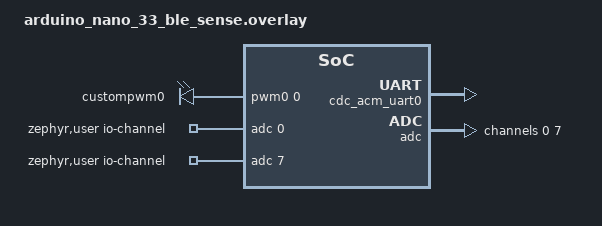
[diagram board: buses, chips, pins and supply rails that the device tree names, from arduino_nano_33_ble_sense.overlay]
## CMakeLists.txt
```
cmake_minimum_required(VERSION 3.20.0)
find_package(Zephyr REQUIRED HINTS $ENV{ZEPHYR_BASE})

project(mv)

target_sources(app PRIVATE 
    src/main.c 
    src/bt.c 
    src/bt_mv.c 
    src/adc.c
)

zephyr_library_include_directories(.)
```

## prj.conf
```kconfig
CONFIG_USB_DEVICE_STACK=y
CONFIG_USB_DEVICE_PRODUCT="Zephyr USB console sample"
CONFIG_USB_DEVICE_PID=0x0004
CONFIG_USB_DEVICE_INITIALIZE_AT_BOOT=n

CONFIG_SERIAL=y
CONFIG_CONSOLE=y
CONFIG_UART_CONSOLE=y
CONFIG_UART_LINE_CTRL=y

# CONFIG_STDOUT_CONSOLE=y
# CONFIG_PRINTK=y
CONFIG_PWM=y
CONFIG_LOG=y
CONFIG_LOG_PRINTK=y
CONFIG_LOG_MODE_DEFERRED=y
CONFIG_PWM_LOG_LEVEL_DBG=n
CONFIG_BT_LOG_LEVEL_DBG=n
CONFIG_FPU=y
CONFIG_CMSIS_DSP=y

CONFIG_NCS_SAMPLES_DEFAULTS=y

CONFIG_BT=y
CONFIG_BT_PERIPHERAL=y
CONFIG_BT_DEVICE_NAME="Minverter"

CONFIG_SYSTEM_WORKQUEUE_STACK_SIZE=2048

CONFIG_ADC=y
CONFIG_TIMING_FUNCTIONS=y

# for CPU die temp
CONFIG_SENSOR=y
CONFIG_CBPRINTF_FP_SUPPORT=y

# for hardware ID
CONFIG_HW_ID_LIBRARY=y
```

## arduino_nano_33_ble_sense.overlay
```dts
/{
    chosen {
		zephyr,console = &cdc_acm_uart0;
	};

    custompwms {
        compatible = "pwm-leds";
    
        custompwm0: custom_pwm_0 {
            pwms =  <&pwm0 0 PWM_MSEC(0) PWM_POLARITY_INVERTED>,  // period and flag values will be overwritten
                    <&pwm0 1 PWM_MSEC(0) PWM_POLARITY_NORMAL>,
                    <&pwm0 2 PWM_MSEC(0) PWM_POLARITY_NORMAL> 
                   ;
        };
    };
    aliases {
        mycustompwm = &custompwm0;
		die-temp0 = &temp;
    };

    zephyr,user {
		io-channels = <&adc 0>, <&adc 7>;
	};

};


&zephyr_udc0 {
	cdc_acm_uart0: cdc_acm_uart0 {
		compatible = "zephyr,cdc-acm-uart";
	};
};


&pwm0 {
    center-aligned;
};

&pinctrl {
    pwm0_default: pwm0_default {
		group1 {
			psels = <NRF_PSEL(PWM_OUT0, 0, 24)>,    // P0.24, red LED
				    <NRF_PSEL(PWM_OUT1, 0, 27)>,    // P0.27 = Arduino Nano D9, LS switch
                    <NRF_PSEL(PWM_OUT2, 0, 21)>;    // P0.21, Arduino Nano D8, HS switch
		};
	};
};

&adc {
	#address-cells = <1>;
	#size-cells = <0>;

	channel@0 {
		reg = <0>;
		zephyr,gain = "ADC_GAIN_1_6";
		zephyr,reference = "ADC_REF_INTERNAL";
		zephyr,acquisition-time = <ADC_ACQ_TIME(ADC_ACQ_TIME_MICROSECONDS, 40)>; // was ADC_ACQ_TIME_DEFAULT
		zephyr,input-positive = <NRF_SAADC_AIN1>; /* P0.03 */
		zephyr,resolution = <12>;
		zephyr,oversampling = <0>;
	};

	channel@7 {
		reg = <7>;
		zephyr,gain = "ADC_GAIN_1_6";
		zephyr,reference = "ADC_REF_INTERNAL";
		zephyr,acquisition-time = <ADC_ACQ_TIME(ADC_ACQ_TIME_MICROSECONDS, 3)>;
		zephyr,input-positive = <NRF_SAADC_VDD>;
		zephyr,resolution = <12>;
		zephyr,oversampling = <0>;

	};
};
```

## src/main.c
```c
#include <zephyr/kernel.h>
#include <zephyr/sys/printk.h>
#include <zephyr/device.h>
#include <zephyr/drivers/pwm.h>
#include <math.h>
#include "arm_math.h"
#include "arm_const_structs.h"

#include <zephyr/usb/usb_device.h>
#include <zephyr/drivers/uart.h>
#include <zephyr/logging/log.h>
LOG_MODULE_REGISTER(main);// , CONFIG_MAIN_LOG_LEVEL);

#include "mv.h"



static const struct pwm_dt_spec custompwm0 = PWM_DT_SPEC_GET(DT_ALIAS(mycustompwm));

float levels[STEPS]; // holds duty cycles, duty = what fraction of time HS switch is on

#define TWO_PI 6.28318530718f

struct mv_param_t {
	/* IEEE 1547 10.6, tables 30-40 */
	/* ... */
	bool PermitService;
	/* .... */
	

	float32_t duty_avg;
	float32_t duty_range;
};

struct mv_param_t mv_param = {
	.PermitService = false,
	.duty_avg = DUTY_AVG,
	.duty_range = DUTY_RANGE,
};

struct mv_nameplate_t mv_nameplate = {
	.HardwareID = "unsupported",
	.VoltageNominal = -999.f,
	.Current = -999.f,
	.ActivePower = -999.f,
	.ApparentPower = -999.f,
	.ReactivePower = -999.f,
};

float32_t sysdata[7] = {0.f};

void step_handler(struct k_work *work)
{
	static uint32_t count = 0;
	static uint32_t oldpulsewidth_ns = 0;

	if (!mv_param.PermitService) {
		LOG_INF("step_handler called when not powered"); // this is normal: we may have steps left in the workqueue even if the output has been turned off
																// catching and ignoring them in the handler is recc https://docs.zephyrproject.org/latest/kernel/services/threads/workqueue.html#workqueue-best-practices
		return;
	}
	uint32_t pulsewidth_ns = PWM_HZ(PWM_FREQ)*levels[count++ % STEPS]; 
	uint32_t ret = pwm_set_dt(&custompwm0, 
		PWM_HZ(PWM_FREQ), 
		pulsewidth_ns);
	if (pulsewidth_ns > oldpulsewidth_ns) {
		ret |= pwm_set(custompwm0.dev, 1,
			PWM_HZ(PWM_FREQ), 
			pulsewidth_ns + DEADTIME_NS, PWM_POLARITY_INVERTED);
		ret |= pwm_set(custompwm0.dev, 2,
			PWM_HZ(PWM_FREQ), 
			pulsewidth_ns - DEADTIME_NS, PWM_POLARITY_NORMAL);
	} else {
		ret |= pwm_set(custompwm0.dev, 2,
			PWM_HZ(PWM_FREQ), 
			pulsewidth_ns - DEADTIME_NS, PWM_POLARITY_NORMAL);
		ret |= pwm_set(custompwm0.dev, 1,
			PWM_HZ(PWM_FREQ), 
			pulsewidth_ns + DEADTIME_NS, PWM_POLARITY_INVERTED);
	}
	oldpulsewidth_ns = pulsewidth_ns;
	if (ret) {
		LOG_ERR("Error %d: failed to set pulse width", ret);
		// XXX
		trip_off(); // shouldn't happen, but if it does, trip?
	}
	if (!mv_param.PermitService) {
		LOG_ERR("ERR: step_handler finished when not powered"); // should not happen
		trip_off(); // but if it does let's power off
	}
}

K_WORK_DEFINE(step_work, step_handler);

void step_timer_handler(struct k_timer *dummy)
{
    k_work_submit(&step_work);
}

void step_timer_off()
{
	LOG_DBG("step_timer_off called\n");
}

K_TIMER_DEFINE(step_timer, step_timer_handler, step_timer_off);


/* Create an instance of your custom structure */
static void statechange_handler(struct k_work *work);

struct statechange_work_data statechange_work_data = {
    .work = Z_WORK_INITIALIZER(statechange_handler),
};

/*
  turn everything off and set to known state
*/
void trip_off() {
	/* set state */
	mv_param.PermitService = false;
	/* stop any running timers */
	k_timer_stop(&step_timer);
	/* set all PWM to zero pulse width */
	uint32_t ret = pwm_set_dt(&custompwm0, PWM_HZ(PWM_FREQ), 0);
	ret |= pwm_set(custompwm0.dev, 2,
		PWM_HZ(PWM_FREQ), 
		0, PWM_POLARITY_NORMAL);
	ret |= pwm_set(custompwm0.dev, 1,
		PWM_HZ(PWM_FREQ), 
		0, PWM_POLARITY_NORMAL);
	if (ret) {
		LOG_ERR("Error %d: failed to set pulse width in trip_off", ret);
		// XXX
	}
}

void statechange_handler(struct k_work* work) {
    struct statechange_work_data *work_data = CONTAINER_OF(work, struct statechange_work_data, work);
 	bool newstate = work_data->newstate;
	if (newstate != !mv_param.PermitService) {
		LOG_INF("State change to %d despite existing state %d", newstate, mv_param.PermitService);
	}
	
	if (newstate) {
		k_timer_start(&step_timer, K_USEC(0U), K_USEC(1000000U/(WAVEFORM_FREQ*STEPS)));
		mv_param.PermitService = true;
		LOG_INF("Power state turned on");
	} else {
		trip_off();
		LOG_INF("Power state turned off");
	}	
}

void pwm_init() {
	if (!device_is_ready(custompwm0.dev)) {
		LOG_ERR("Error: PWM device %s is not ready",
		       custompwm0.dev->name);
	} 
	trip_off();
	LOG_INF("pwm_init complete");
}

void waveform_init() {
	for (int i =0; i < STEPS; i++) {
		levels[i] = mv_param.duty_avg*(1 + mv_param.duty_range*sin(TWO_PI*i/STEPS));
	}
}

void console_init() {
	const struct device *const dev = DEVICE_DT_GET(DT_CHOSEN(zephyr_console));
	uint32_t dtr = 0;

	if (usb_enable(NULL)) {
		printk("USB enable failed\n"); // won't be seen if using usb console
		LOG_ERR("USB enable failed"); // again, not likely to be seen
		// return 0;
	}

	/* Poll if the DTR flag was set */
	while (!dtr) {
		uart_line_ctrl_get(dev, UART_LINE_CTRL_DTR, &dtr);
		k_sleep(K_MSEC(100));
	}

	LOG_INF("Console_init complete");

}

int init_hw_id() {
	int err = hw_id_get(mv_nameplate.HardwareID, ARRAY_SIZE(mv_nameplate.HardwareID));
	if (err) {
		LOG_ERR("hw_id_get failed (err %d)\n", err);
		return err;
	}
	LOG_INF("hw_id: %s\n", mv_nameplate.HardwareID);
	return 0;
}

int main(void)
{
	console_init();
	pwm_init();
	waveform_init();
	init_bt();
	adc_init();
	init_hw_id();

	while (1) {
		adc_mainloop();
		k_sleep(K_MSEC(1));
	}
	k_sleep(K_FOREVER);
	return 0;
}
```

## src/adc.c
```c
#include <inttypes.h>
#include <stddef.h>
#include <stdint.h>

#include <math.h>
#include "arm_math.h"
#include "arm_const_structs.h"

#include <zephyr/device.h>
#include <zephyr/devicetree.h>
#include <zephyr/drivers/adc.h>
#include <zephyr/kernel.h>
#include <zephyr/sys/printk.h>
#include <zephyr/sys/util.h>

#include <zephyr/usb/usb_device.h>
#include <zephyr/drivers/uart.h>

#include <zephyr/timing/timing.h>

#include <zephyr/drivers/sensor.h>
#include <zephyr/logging/log.h>
LOG_MODULE_REGISTER(adc, CONFIG_ADC_LOG_LEVEL); // LOG_LEVEL_WRN); // CONFIG_ADC_LOG_LEVEL);

#include "mv.h"


#define SQR(x) ((x)*(x))


#if !DT_NODE_EXISTS(DT_PATH(zephyr_user)) || \
	!DT_NODE_HAS_PROP(DT_PATH(zephyr_user), io_channels)
#error "No suitable devicetree overlay specified"
#endif

#define DT_SPEC_AND_COMMA(node_id, prop, idx) \
	ADC_DT_SPEC_GET_BY_IDX(node_id, idx),

/* Data of ADC io-channels specified in devicetree. */
static const struct adc_dt_spec adc_channels[] = {
	DT_FOREACH_PROP_ELEM(DT_PATH(zephyr_user), io_channels,
			     DT_SPEC_AND_COMMA)
};


#define BLOCK_SIZE 4096
#define SAMPLE_RATE 15640.4f // constant is sampling rate, determined by experimental calibration
#define VOLTAGE_DIVIDER_SF 0.241f // scale factor 241 is 2*820k/6.8k, *1e-3 (mV to V)

uint16_t raw_data[BLOCK_SIZE*2] = {0};
float32_t sample_data[BLOCK_SIZE] = {0.f};
float32_t data_detrend[BLOCK_SIZE] = {0.f};
float32_t fftout[BLOCK_SIZE/2+2]; // output of real FFT
float32_t ps[BLOCK_SIZE]; // power spectrum, in V^2 for each bin (*not* distribution in V^2/Hz)
float32_t block_window[BLOCK_SIZE]; // window, needs to be computed only once
float32_t window_sum, window_sumsq; // window normalizations
static arm_rfft_fast_instance_f32 arm_rfft_S; // needs to be computed only once

static const struct device *const die_temp_sensor = DEVICE_DT_GET(DT_ALIAS(die_temp0));
static float64_t die_temperature(const struct device *dev);



void adc_init() {

	/* Configure channels individually prior to sampling. */
	for (size_t chan_i= 0U; chan_i< ARRAY_SIZE(adc_channels); chan_i++) {
		if (!device_is_ready(adc_channels[chan_i].dev)) {
			LOG_ERR("ADC controller device %s not ready", adc_channels[chan_i].dev->name);
			// return 0; // XXX
		}
		int err = adc_channel_setup_dt(&adc_channels[chan_i]);
		if (err < 0) {
			LOG_ERR("Could not setup channel #%d (%d)", chan_i, err);
			// return 0; // XXX should fail better
		}
	}
	
	// fft initialization
	arm_status status = arm_rfft_fast_init_f32(&arm_rfft_S, BLOCK_SIZE);
	if (status != ARM_MATH_SUCCESS) {
		LOG_ERR("arm_rfft_fast_init failure");
		// XXX fail better
	}
	arm_hft95_f32(block_window, BLOCK_SIZE); // window function, good to about 0.05% amplitude, ~4 bins wide
	//	arm_accumulate_f32(block_window, BLOCK_SIZE, &window_sum);
	window_sum = window_sumsq = 0.f;
	for (size_t i=0; i< BLOCK_SIZE; i++) {
		window_sum += block_window[i];
		window_sumsq += SQR(block_window[i]);
	}
	
	// initialize raw data to something nonzero by doing a read
	adc_measure();

	if (!device_is_ready(die_temp_sensor)) {
		LOG_ERR("sensor: device %s not ready", die_temp_sensor->name);
		return 0;
	}
}

void adc_measure() {
	struct adc_sequence sequence = {
		.buffer = &raw_data[0],
		/* buffer size in bytes, not number of samples */
		.buffer_size = sizeof(raw_data),
	};
	struct adc_sequence_options opts = {
		.extra_samplings = BLOCK_SIZE-1U,
	};


		// start_time = timing_counter_get(); // cpu time not wall time

		// first, configure sequence using channel 0. channel number doesn't matter
		// sequence.channels will be incorrect, we will fix after
		(void)adc_sequence_init_dt(&adc_channels[0], &sequence);
		sequence.channels = BIT(0) | BIT(7); // we have channel 7 config also
		sequence.options = &opts;
		int err = adc_read(adc_channels[0].dev, &sequence); // I think what device is linked doesn't depend on the channel
		if (err < 0) {
			LOG_ERR("Could not read (%d)", err);
			return; // XXX error handling
		} 
		// else {
		// 	for (size_t sample_i = 0; sample_i < BLOCK_SIZE; sample_i++) {
		// 		printk("%" PRId32 "\t%" PRId32 "\n", (int32_t) raw_data[2*sample_i+ 0], (int32_t) raw_data[2*sample_i+ 1]);
		// 	}
		// }


		// end_time = timing_counter_get();
		// total_cycles = timing_cycles_get(&start_time, &end_time);
		// total_ns = timing_cycles_to_ns(total_cycles); // not wall time
		// printk("done with reading, datarate %.2f ksps\n", BLOCK_SIZE/(1.e-6*total_ns)); 

}

void adc_calc() {
		float32_t vsum_volt = 0.f;
		int32_t vddsum_mv = 0;

		float32_t v_shift = 0.f;
		float32_t vsum_shift = 0.f;
		float32_t vsumsq_shift = 0.f;
		
		int32_t vdd_shift = 0;
		int32_t vddsum_shift = 0;
		int32_t vddsumsq_shift = 0;

		int32_t val_mv[ARRAY_SIZE(adc_channels)];

		int32_t v0_mv, vdd_mv;

    // start_time = timing_counter_get(); // cpu time not wall time


		// let api scale to mV using devicetree
		for (size_t i = 0; i < BLOCK_SIZE; i++) {
			v0_mv = raw_data[2*i+0]; 
			int err = adc_raw_to_millivolts_dt(&adc_channels[0],
									&v0_mv);
			if (err < 0) {
				LOG_ERR(" (value in mV not available)");
			}
			vdd_mv = raw_data[2*i+1]; 
			err = adc_raw_to_millivolts_dt(&adc_channels[1],
						&vdd_mv);
			if (err < 0) {
				LOG_ERR(" (value in mV not available)");
			}
			// then offset and scale to volts based on voltage dividers
			sample_data[i] = VOLTAGE_DIVIDER_SF*(v0_mv - vdd_mv/2); 
		}

		// stats calculations on block


		// // manual mean and sd
		// float32_t tmpsum = 0.f, tmpsumsq = 0.f;
		// for (int32_t i = 0; i < BLOCK_SIZE; i++) {
		//   tmpsum += sample_data[i];
		//   tmpsumsq += SQR(sample_data[i]);
		// }
		// printk("Mean (sd) %.6f (%.2f) V\n", tmpsum/BLOCK_SIZE, sqrt((tmpsumsq-SQR(tmpsum)/BLOCK_SIZE)/BLOCK_SIZE));

		// now stats and fourier w dsp library
		arm_status status = ARM_MATH_SUCCESS;
		float32_t maxValue, meanValue;
		uint32_t maxIndex;

		float32_t binWidth = (SAMPLE_RATE/BLOCK_SIZE); 
		arm_mean_f32(sample_data, BLOCK_SIZE, &meanValue);
		arm_offset_f32(sample_data, -meanValue, data_detrend, BLOCK_SIZE);
		arm_mult_f32(data_detrend, block_window, data_detrend, BLOCK_SIZE);
		arm_rfft_fast_f32(&arm_rfft_S, data_detrend, fftout, 0);
		// for (size_t i = 0; i < 35; i++) {
		// 	printk("%5.2f\t%10.2f\t%10.2f\n", binWidth*i, fftout[2*i], fftout[2*i+1]);
		// }
		ps[0] = 0.f; // zero out DC from power spectrum (also f_nyquist is in here too)
		arm_cmplx_mag_squared_f32(&fftout[1], &ps[1], BLOCK_SIZE/2-1);
		arm_max_f32(ps, BLOCK_SIZE, &maxValue, &maxIndex);
		if (maxIndex < 5) {
			LOG_INF("Max power index %" PRId32 " < 5, interpret with care", maxIndex);
		}
		float32_t tonePower = ps[maxIndex]; 
		float32_t harmonicPower = 0.f;
		size_t k = 0U; // will end at number harmonics plus one
		for (k = 2; k < 51; k++ ) { // 50 harmonics or whatever is inside our bandwidth
			if (k*maxIndex >= BLOCK_SIZE/2) {
				break;
			}
			harmonicPower += ps[k*maxIndex];
		}

		float64_t noisePower = 0.f;
		int32_t noiseBins = 0U;
//		printk("[\n");
		for (size_t i = 0; i < BLOCK_SIZE/2; i++) {
			size_t ii = i % maxIndex;
			if (ii == maxIndex-2 || ii == maxIndex - 1 || ii == 0 || ii == 1 || ii == 2) {
				; // skip bins counted for tone or harmonics, or a couple bins either side
			} else {
				noisePower += ps[i];
				noiseBins++;
			}
//			printk("[%.3f,%.6g],\n", binWidth*i, (2*ps[i]/SQR(window_sum))); // power spectrum, voltage scaling
//			printk("[%.3f,%.6g],\n", binWidth*i, (2*ps[i]/(binWidth*window_sumsq))); // power spectral distribution, voltage/rtHz scaling

		}
//		printk("]\n");
		harmonicPower -= (k-2)*noisePower/noiseBins; // subtract white noise background from harmonic distortion measurement
		if (harmonicPower < 0.f) {
			harmonicPower = 0.f; // if harmonic distortion outweighed by noise, display 0.
		}
		sysdata[0] = meanValue;
		sysdata[1] = binWidth*maxIndex;
		sysdata[2] = sqrt(2*tonePower/SQR(window_sum));
		sysdata[3] = atan2(fftout[2*maxIndex+1], fftout[2*maxIndex]);
		sysdata[4] = 100.f*sqrt(harmonicPower/tonePower);  
		sysdata[5] = sqrt(2.f*noisePower/(binWidth*noiseBins*window_sumsq));
		sysdata[6] = die_temperature(die_temp_sensor);
		LOG_INF("DC %.2f Tone: %.2f Hz mag %.2f Vrms phase %.3f rad THD %.2f%% rms noise %.2f V/rtHz %.2f C", 
			sysdata[0], sysdata[1], sysdata[2], sysdata[3], sysdata[4], sysdata[5], sysdata[6]);
		// end_time = timing_counter_get();
		// total_cycles = timing_cycles_get(&start_time, &end_time);
		// total_ns = timing_cycles_to_ns(total_cycles); // not wall time
		// printk("done with calc, %.3f ms\n", (1.e-6*total_ns)); 

		//   k_sleep(K_MSEC(10000));

		// end_time = timing_counter_get();
		// total_cycles = timing_cycles_get(&start_time, &end_time);
		// total_ns = timing_cycles_to_ns(total_cycles);
		// printk("Analysis time %.3f s\n", 1.e-9f*total_ns);



}

void adc_mainloop() {
   adc_measure();
   adc_calc();
}

static float64_t die_temperature(const struct device *dev)
{
	struct sensor_value val;
	int rc;
	float64_t die_temp = 0.f;

	/* fetch sensor samples */
	rc = sensor_sample_fetch(dev);
	if (rc) {
		LOG_ERR("Failed to fetch sample (%d)", rc);
		return rc;
	}

	rc = sensor_channel_get(dev, SENSOR_CHAN_DIE_TEMP, &val);
	if (rc) {
		LOG_ERR("Failed to get data (%d)", rc);
		return rc;
	}
	die_temp = sensor_value_to_double(&val);
//	printk("CPU Die temperature[%s]: %.1f °C\n", dev->name, die_temp);
	return die_temp;
}
```

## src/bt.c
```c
#include <zephyr/types.h>
#include <stddef.h>
#include <string.h>
#include <errno.h>
#include <zephyr/sys/printk.h>
#include <zephyr/sys/byteorder.h>
#include <zephyr/kernel.h>
#include <zephyr/drivers/gpio.h>
#include <soc.h>

#include <zephyr/bluetooth/bluetooth.h>
#include <zephyr/bluetooth/hci.h>
#include <zephyr/bluetooth/conn.h>
#include <zephyr/bluetooth/uuid.h>
#include <zephyr/bluetooth/gatt.h>
#include "bt_mv.h"
#include <zephyr/settings/settings.h>

#include <zephyr/logging/log.h>
LOG_MODULE_REGISTER(bt, LOG_LEVEL_DBG);

#include <math.h>
#include "arm_math.h"

#include "mv.h"

#define DEVICE_NAME             CONFIG_BT_DEVICE_NAME
#define DEVICE_NAME_LEN         (sizeof(DEVICE_NAME) - 1)


// custom parameters for advertising, 
//struct bt_le_adv_param *adv_param = BT_LE_ADV_PARAM(BT_LE_ADV_OPT_NONE, 800, 801, NULL);
static struct bt_le_adv_param *adv_param = BT_LE_ADV_PARAM(
	(BT_LE_ADV_OPT_CONNECTABLE |
	 BT_LE_ADV_OPT_USE_IDENTITY), /* Connectable advertising and use identity address */
	800, /* Min Advertising Interval 500ms (800*0.625ms) */
	801, /* Max Advertising Interval 500.625ms (801*0.625ms) */
	NULL); /* Set to NULL for undirected advertising */



// code for including custom dynamic data in advertising packet
#define COMPANY_ID_CODE 0x0059 // use Nordic's code for development, must apply to Bluetooth SIG for a unique ID
typedef struct adv_mfg_data {
	uint16_t company_code;	    /* Company Identifier Code. */
	uint16_t count;      
} adv_mfg_data_type;
adv_mfg_data_type adv_mfg_data = {COMPANY_ID_CODE,0x00};

static const struct bt_data ad[] = {
	BT_DATA_BYTES(BT_DATA_FLAGS, (BT_LE_AD_GENERAL | BT_LE_AD_NO_BREDR)),
	BT_DATA(BT_DATA_NAME_COMPLETE, DEVICE_NAME, DEVICE_NAME_LEN),
	BT_DATA(BT_DATA_MANUFACTURER_DATA,(unsigned char *)&adv_mfg_data, sizeof(adv_mfg_data)),
};

// currently UUID for Nordic LBS service
// service UUID for advertising from bt_mv
static const struct bt_data sd[] = {
	BT_DATA_BYTES(BT_DATA_UUID128_ALL,  BT_UUID_MV_VAL),
};
// static unsigned char url_data[] ={0x17,'/','/','k','a','l','n','a','.','e','n',
//                                  'e','r','g','y'};
// static const struct bt_data sd[] = {
// 	BT_DATA(BT_DATA_URI, url_data,sizeof(url_data)),
// };

void count_handler(struct k_work *work) {
	adv_mfg_data.count++;
	bt_le_adv_update_data(ad, ARRAY_SIZE(ad),
			      sd, ARRAY_SIZE(sd));
}

struct bt_conn_info info;
static void connected(struct bt_conn *conn, uint8_t err)
{
	if (err) {
		LOG_ERR("Connection failed (err %u)\n", err);
		return;
	}

	err = bt_conn_get_info(conn, &info);
	if (err) {
		LOG_ERR("bt_conn_get_info() returned %d", err);
		return;
	}
	LOG_INF("Connected");
	float32_t connection_interval = info.le.interval*1.25f; // in ms
	uint16_t supervision_timeout = info.le.timeout*10; // in ms
	LOG_INF("Connection parameters: interval %.2f ms, latency %d intervals, timeout %d ms", 
		connection_interval, info.le.latency, supervision_timeout);
}

static void disconnected(struct bt_conn *conn, uint8_t reason)
{
	trip_off();
	LOG_INF("Disconnected (reason %u)", reason);
}

static void on_le_param_updated(struct bt_conn *conn, uint16_t interval, uint16_t latency, uint16_t timeout)
{
    float32_t connection_interval = interval*1.25f;         // in ms
    uint16_t supervision_timeout = timeout*10;          // in ms
    LOG_INF("Connection parameters updated: interval %.2f ms, latency %d intervals, timeout %d ms", connection_interval, latency, supervision_timeout);
}

BT_CONN_CB_DEFINE(conn_callbacks) = {
	.connected        = connected,
	.disconnected     = disconnected,
	.le_param_updated = on_le_param_updated,
};

/* interrupt callback */
static void statechange_cb(bool newstate)
{
    /* Set the state in your work data structure */
    statechange_work_data.newstate = newstate;
	/* submit work */
    k_work_submit(&statechange_work_data.work);
}

static int32_t readval_cb()
{
	return (int32_t) (sysdata[1]*1000); // frequency in millihertz
}

static struct bt_mv_cb bt_mv_callbacks = {
	.statechange_cb    = statechange_cb,
	.readval_cb = readval_cb,
};

K_WORK_DEFINE(count_work, count_handler);

void count_timer_handler(struct k_timer *dummy)
{
    k_work_submit(&count_work);
}

K_TIMER_DEFINE(count_timer, count_timer_handler, NULL);

void init_bt() {
	int err;
	LOG_INF("Starting Bluetooth");

	err = bt_enable(NULL);
	if (err) {
		LOG_ERR("Bluetooth init failed (err %d)", err);
		return;
	}
	LOG_INF("Bluetooth initialized");

	if (IS_ENABLED(CONFIG_SETTINGS)) {
		settings_load();
	}

	err = bt_mv_init(&bt_mv_callbacks);
	if (err) {
		LOG_ERR("Failed to init LBS (err:%d)", err);
		return;
	}

//	err = my_lbs_init(&app_callbacks);
	if (err) {
		LOG_ERR("Failed to init BT MV service (err:%d)", err);
		return;
	}


	// XXX use adv_param custom parameters?
	//err = bt_le_adv_start(BT_LE_ADV_CONN, ad, ARRAY_SIZE(ad),
	//		      sd, ARRAY_SIZE(sd));
	err = bt_le_adv_start(adv_param, ad, ARRAY_SIZE(ad), sd, ARRAY_SIZE(sd));
	
	if (err) {
		LOG_ERR("Advertising failed to start (err %d)", err);
		return;
	}

	k_timer_start(&count_timer, K_USEC(0U), K_MSEC(1000U));
	LOG_INF("Advertising successfully started");
}
```

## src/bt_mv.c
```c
#include <zephyr/types.h>
#include <stddef.h>
#include <string.h>
#include <errno.h>
#include <zephyr/sys/printk.h>
#include <zephyr/sys/byteorder.h>
#include <zephyr/kernel.h>

#include <zephyr/bluetooth/bluetooth.h>
#include <zephyr/bluetooth/hci.h>
#include <zephyr/bluetooth/conn.h>
#include <zephyr/bluetooth/uuid.h>
#include <zephyr/bluetooth/gatt.h>

#include "mv.h"
#include "bt_mv.h"

#include <zephyr/logging/log.h>

LOG_MODULE_REGISTER(bt_mv, LOG_LEVEL_DBG);

static int32_t system_value;
static struct bt_mv_cb bt_mv_cb;

static ssize_t read_state(struct bt_conn *conn,
			  const struct bt_gatt_attr *attr,
			  void *buf,
			  uint16_t len,
			  uint16_t offset)
{
	//get a pointer to system_value which is passed in the BT_GATT_CHARACTERISTIC() and stored in attr->user_data
	const int32_t *value = attr->user_data;
	LOG_DBG("Attribute read, handle: %u, conn: %p", attr->handle,
		(void *)conn);
	if (bt_mv_cb.readval_cb) {
		// Call the application callback function to update the get the current value of the button
		system_value = bt_mv_cb.readval_cb();
		return bt_gatt_attr_read(conn, attr, buf, len, offset, value,
					 sizeof(*value));
	}
	return 0;
}

static ssize_t write_statechange(struct bt_conn *conn,
			 const struct bt_gatt_attr *attr,
			 const void *buf,
			 uint16_t len, uint16_t offset, uint8_t flags)
{
	LOG_DBG("Attribute write, handle: %u, conn: %p", attr->handle,
		(void *)conn);
	if (len != 1U) {
		LOG_DBG("Write led: Incorrect data length");
		return BT_GATT_ERR(BT_ATT_ERR_INVALID_ATTRIBUTE_LEN);
	}
	if (offset != 0) {
		LOG_DBG("Write led: Incorrect data offset");
		return BT_GATT_ERR(BT_ATT_ERR_INVALID_OFFSET);
	}
	if (bt_mv_cb.statechange_cb) {
		//Read the received value 
		uint8_t val = *((uint8_t *)buf);
		if (val == 0x00 || val == 0x01) {
			//Call the application callback function to update the LED state
			bt_mv_cb.statechange_cb(val ? true : false);
		} else {
			LOG_DBG("Write led: Incorrect value");
			return BT_GATT_ERR(BT_ATT_ERR_VALUE_NOT_ALLOWED);
		}
	}
	return len;
}

BT_GATT_SERVICE_DEFINE(bt_mv_svc, BT_GATT_PRIMARY_SERVICE(BT_UUID_MV),
		       BT_GATT_CHARACTERISTIC(BT_UUID_MV_READVAL, BT_GATT_CHRC_READ,
					      BT_GATT_PERM_READ, read_state, NULL, &system_value),
		       BT_GATT_CHARACTERISTIC(BT_UUID_MV_STATECHANGE, BT_GATT_CHRC_WRITE,
					      BT_GATT_PERM_WRITE, NULL, write_statechange, NULL),

);

/* A function to register application callbacks for the service characteristics  */
int bt_mv_init(struct bt_mv_cb *callbacks)
{
	if (callbacks) {
		bt_mv_cb.statechange_cb = callbacks->statechange_cb;
		bt_mv_cb.readval_cb = callbacks->readval_cb;
	}
    LOG_DBG("bt_mv_init complete");

	return 0;
}
```

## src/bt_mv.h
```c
#ifndef BT_MV_H_
#define BT_MV_H_

/*
	BT MV service API
	based on https://github.com/NordicDeveloperAcademy/bt-fund/blob/main/lesson4/blefund_less4_exer1/src/my_lbs.h
*/

#ifdef __cplusplus
extern "C" {
#endif

#include <zephyr/types.h>

// Define the 128 bit UUIDs for the GATT service and its characteristics
// we're mostly stealing values from LBS. XXX pick our own UUIDs
#define BT_UUID_MV_VAL \
	BT_UUID_128_ENCODE(0x00001523, 0x1212, 0xefde, 0x1523, 0x785feabcd124)
// read characteristic
#define BT_UUID_MV_READVAL_VAL \
	BT_UUID_128_ENCODE(0x00011524, 0x1212, 0xefde, 0x1523, 0x785feabcd124)
// statechange characteristic
#define BT_UUID_MV_STATECHANGE_VAL \
	BT_UUID_128_ENCODE(0x00011526, 0x1212, 0xefde, 0x1523, 0x785feabcd124)
#define BT_UUID_MV           BT_UUID_DECLARE_128(BT_UUID_MV_VAL)
#define BT_UUID_MV_READVAL    BT_UUID_DECLARE_128(BT_UUID_MV_READVAL_VAL)
#define BT_UUID_MV_STATECHANGE       BT_UUID_DECLARE_128(BT_UUID_MV_STATECHANGE_VAL)

/** @brief Callback type for when a state change is received. */
typedef void (*statechange_cb_t)(const bool newstate);

/** @brief Callback type for when the button state is pulled. */
typedef int32_t (*readval_cb_t)(void);

struct bt_mv_cb {
	statechange_cb_t statechange_cb;
	readval_cb_t readval_cb;
};

int bt_mv_init(struct bt_mv_cb *callbacks);

#ifdef __cplusplus
}
#endif

#endif /* BT_MV_H_ */
```

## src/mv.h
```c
/* intermodule interfaces, system configuration */

#ifndef BT_H_
#define BT_H_
#include <arm_math_types.h>
#include <hw_id.h>

/* interfaces */

void init_bt();
void adc_init();
void adc_mainloop();

extern float32_t sysdata[];


struct statechange_work_data {
    struct k_work work;
    bool newstate;
};

extern struct statechange_work_data statechange_work_data;

extern void trip_off();

/*
 * system configuration
*/

#define PWM_FREQ 10000 // Hz
#define WAVEFORM_FREQ 3 // Hz

#define STEPS 180
extern float levels[]; // holds duty cycles, duty = what fraction of time HS switch is on
#define DUTY_AVG 0.5f // 0. to 1.
#define DUTY_RANGE 0.90f // 0. to 1.
#define DEADTIME_NS 500U

//////

// nameplate ratings: Nominal voltage (V), current (A), maximum active power (kW), apparent power
// (kVA), and reactive power (kvar) at which a DER is capable of sustained operation.
struct mv_nameplate_t {
    uint8_t HardwareID[HW_ID_LEN];
    float32_t VoltageNominal;
    float32_t Current;
    float32_t ActivePower;
    float32_t ApparentPower;
    float32_t ReactivePower;

};

#endif /* BT_H_ */
```
